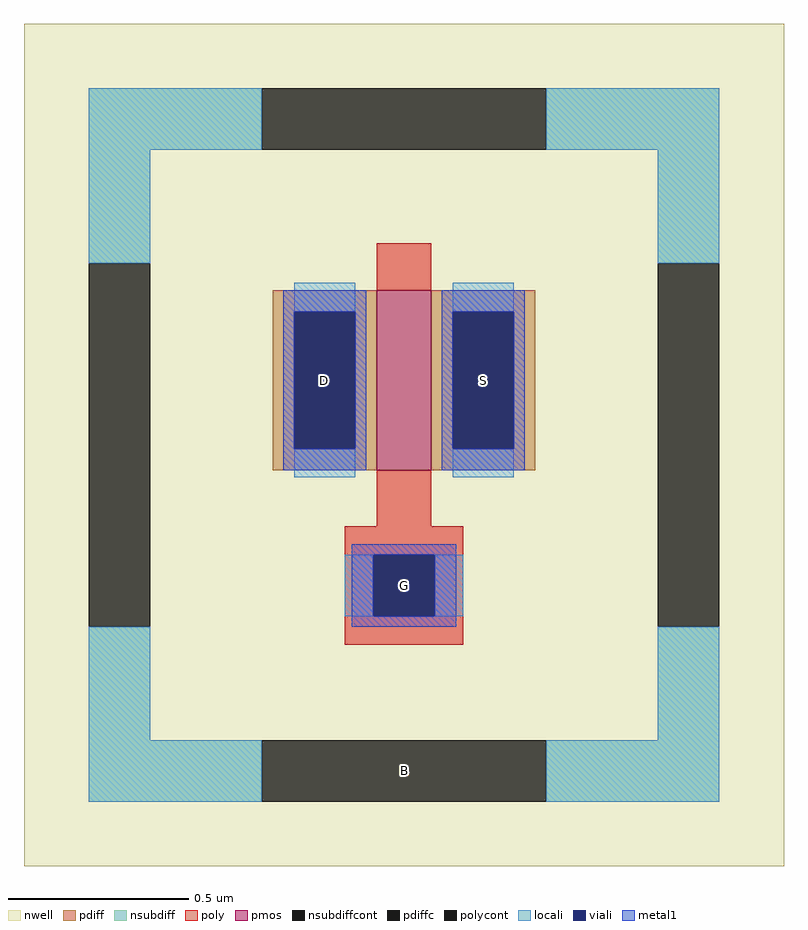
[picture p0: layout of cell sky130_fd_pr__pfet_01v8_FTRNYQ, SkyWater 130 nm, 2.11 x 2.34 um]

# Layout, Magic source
magic
tech sky130A
magscale 1 2
<< nwell >>
rect -211 -234 211 234
<< pmos >>
rect -15 -14 15 86
<< pdiff >>
rect -73 74 -15 86
rect -73 -2 -61 74
rect -27 -2 -15 74
rect -73 -14 -15 -2
rect 15 74 73 86
rect 15 -2 27 74
rect 61 -2 73 74
rect 15 -14 73 -2
<< pdiffc >>
rect -61 -2 -27 74
rect 27 -2 61 74
<< nsubdiff >>
rect -175 164 -79 198
rect 79 164 175 198
rect -175 101 -141 164
rect 141 101 175 164
rect -175 -164 -141 -101
rect 141 -164 175 -101
rect -175 -198 -79 -164
rect 79 -198 175 -164
<< nsubdiffcont >>
rect -79 164 79 198
rect -175 -101 -141 101
rect 141 -101 175 101
rect -79 -198 79 -164
<< poly >>
rect -15 86 15 112
rect -15 -45 15 -14
rect -33 -61 33 -45
rect -33 -95 -17 -61
rect 17 -95 33 -61
rect -33 -111 33 -95
<< polycont >>
rect -17 -95 17 -61
<< locali >>
rect -175 164 -79 198
rect 79 164 175 198
rect -175 101 -141 164
rect 141 101 175 164
rect -61 74 -27 90
rect -61 -18 -27 -2
rect 27 74 61 90
rect 27 -18 61 -2
rect -33 -95 -17 -61
rect 17 -95 33 -61
rect -175 -164 -141 -101
rect 141 -164 175 -101
rect -175 -198 -79 -164
rect 79 -198 175 -164
<< viali >>
rect -61 -2 -27 74
rect 27 -2 61 74
rect -17 -95 17 -61
<< metal1 >>
rect -67 74 -21 86
rect -67 -2 -61 74
rect -27 -2 -21 74
rect -67 -14 -21 -2
rect 21 74 67 86
rect 21 -2 27 74
rect 61 -2 67 74
rect 21 -14 67 -2
rect -29 -61 29 -55
rect -29 -95 -17 -61
rect 17 -95 29 -61
rect -29 -101 29 -95
<< labels >>
rlabel nsubdiffcont 0 -181 0 -181 0 B
port 1 nsew
rlabel pdiffc -44 36 -44 36 0 D
port 2 nsew
rlabel pdiffc 44 36 44 36 0 S
port 3 nsew
rlabel polycont 0 -78 0 -78 0 G
port 4 nsew
<< properties >>
string FIXED_BBOX -158 -181 158 181
string gencell sky130_fd_pr__pfet_01v8
string library sky130
string parameters w 0.5 l 0.15 m 1 nf 1 diffcov 100 polycov 100 guard 1 glc 1 grc 1 gtc 1 gbc 1 tbcov 100 rlcov 100 topc 0 botc 1 poverlap 0 doverlap 1 lmin 0.15 wmin 0.42 class mosfet compatible {sky130_fd_pr__pfet_01v8  sky130_fd_pr__pfet_01v8_lvt sky130_fd_pr__pfet_01v8_hvt  sky130_fd_pr__pfet_g5v0d10v5} full_metal 1 conn_gates 0 viasrc 100 viadrn 100 viagate 100 viagb 0 viagr 0 viagl 0 viagt 0 doports 1
<< end >>
